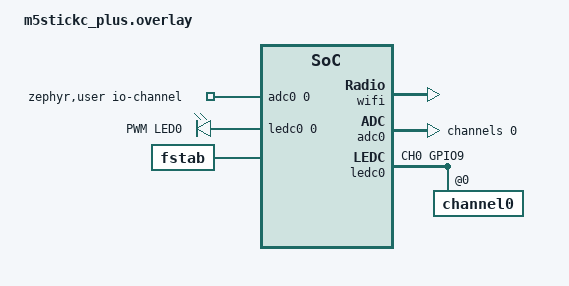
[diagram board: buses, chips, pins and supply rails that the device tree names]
/*
 * Copyright (c) 2023 Espressif Systems (Shanghai) Co., Ltd.
 *
 * SPDX-License-Identifier: Apache-2.0
 */

&pinctrl {
	ledc0_default: ledc0_default {
		group1 {
			pinmux = <LEDC_CH0_GPIO9>; /* lcd backlight */
			output-enable;
		};
	};
};

&flash0 {
	status = "okay";
	partitions {
		slot0_partition: partition@10000 {
			label = "image-0";
			reg = <0x00010000 0x00200000>;
		};

		/delete-node/ slot1_partition;
	};
};

#include <zephyr/dt-bindings/pwm/pwm.h>

&wifi {
	status = "okay";
};

&adc0 {
	status = "okay";
	#address-cells = <1>;
	#size-cells = <0>;

	channel@0 {
		reg = <0>;
		zephyr,gain = "ADC_GAIN_1_4";
		zephyr,reference = "ADC_REF_INTERNAL";
		zephyr,acquisition-time = <ADC_ACQ_TIME_DEFAULT>;
		zephyr,resolution = <12>;
	};
};

&ledc0 {
	pinctrl-0 = <&ledc0_default>;
	pinctrl-names = "default";
	status = "okay";
	#address-cells = <1>;
	#size-cells = <0>;
	channel0@0 {
			reg = <0x0>;
			timer = <0>;
	};
};

/ {
	aliases {
		pwm0 = &pwm0;
		adc = &adc0;
	};

	zephyr,user {
		io-channels = <&adc0 0>;
	};

	pwmleds {
		compatible = "pwm-leds";
		pwm0: pwm_led_gpio0_10 {
				label = "PWM LED0";
				pwms = <&ledc0 0 1000 PWM_POLARITY_NORMAL>;
		};
	};

	fstab {
		compatible = "zephyr,fstab";
		lfs1: lfs1 {
			compatible = "zephyr,fstab,littlefs";
			mount-point = "/lfs1";
			partition = <&storage_partition>;
			automount;
			read-size = <16>;
			prog-size = <16>;
			cache-size = <64>;
			lookahead-size = <32>;
			block-cycles = <512>;
		};
	};
};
